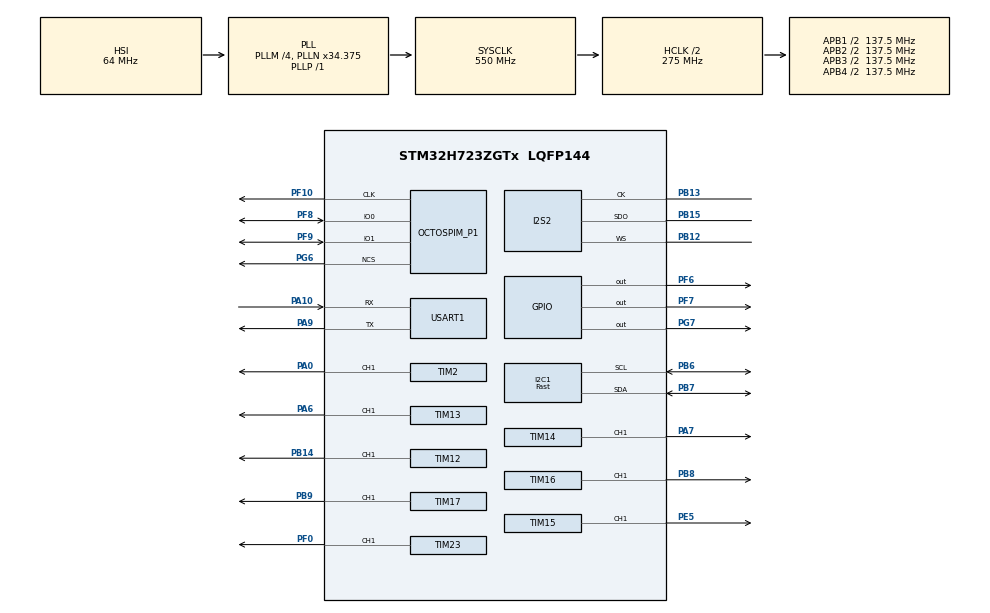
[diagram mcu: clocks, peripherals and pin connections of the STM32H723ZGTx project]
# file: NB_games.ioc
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CORTEX_M7.default_mode_Activation=1
Dma.I2C1_TX.0.Direction=DMA_MEMORY_TO_PERIPH
Dma.I2C1_TX.0.EventEnable=DISABLE
Dma.I2C1_TX.0.FIFOMode=DMA_FIFOMODE_DISABLE
Dma.I2C1_TX.0.Instance=DMA1_Stream1
Dma.I2C1_TX.0.MemDataAlignment=DMA_MDATAALIGN_BYTE
Dma.I2C1_TX.0.MemInc=DMA_MINC_ENABLE
Dma.I2C1_TX.0.Mode=DMA_NORMAL
Dma.I2C1_TX.0.PeriphDataAlignment=DMA_PDATAALIGN_BYTE
Dma.I2C1_TX.0.PeriphInc=DMA_PINC_DISABLE
Dma.I2C1_TX.0.Polarity=HAL_DMAMUX_REQ_GEN_RISING
Dma.I2C1_TX.0.Priority=DMA_PRIORITY_MEDIUM
Dma.I2C1_TX.0.RequestNumber=1
Dma.I2C1_TX.0.SignalID=NONE
Dma.I2C1_TX.0.SyncEnable=DISABLE
Dma.I2C1_TX.0.SyncPolarity=HAL_DMAMUX_SYNC_NO_EVENT
Dma.I2C1_TX.0.SyncRequestNumber=1
Dma.I2C1_TX.0.SyncSignalID=NONE
Dma.Request0=I2C1_TX
Dma.Request1=USART1_RX
Dma.Request2=USART1_TX
Dma.Request3=SPI2_TX
Dma.SPI2_TX.3.Direction=DMA_MEMORY_TO_PERIPH
Dma.SPI2_TX.3.EventEnable=DISABLE
Dma.SPI2_TX.3.FIFOMode=DMA_FIFOMODE_DISABLE
Dma.SPI2_TX.3.Instance=DMA1_Stream0
Dma.SPI2_TX.3.MemDataAlignment=DMA_MDATAALIGN_HALFWORD
Dma.SPI2_TX.3.MemInc=DMA_MINC_ENABLE
Dma.SPI2_TX.3.Mode=DMA_CIRCULAR
Dma.SPI2_TX.3.PeriphDataAlignment=DMA_PDATAALIGN_HALFWORD
Dma.SPI2_TX.3.PeriphInc=DMA_PINC_DISABLE
Dma.SPI2_TX.3.Polarity=HAL_DMAMUX_REQ_GEN_RISING
Dma.SPI2_TX.3.Priority=DMA_PRIORITY_VERY_HIGH
Dma.SPI2_TX.3.RequestNumber=1
Dma.SPI2_TX.3.SignalID=NONE
Dma.SPI2_TX.3.SyncEnable=DISABLE
Dma.SPI2_TX.3.SyncPolarity=HAL_DMAMUX_SYNC_NO_EVENT
Dma.SPI2_TX.3.SyncRequestNumber=1
Dma.SPI2_TX.3.SyncSignalID=NONE
Dma.USART1_RX.1.Direction=DMA_PERIPH_TO_MEMORY
Dma.USART1_RX.1.EventEnable=DISABLE
Dma.USART1_RX.1.FIFOMode=DMA_FIFOMODE_DISABLE
Dma.USART1_RX.1.Instance=DMA1_Stream2
Dma.USART1_RX.1.MemDataAlignment=DMA_MDATAALIGN_BYTE
Dma.USART1_RX.1.MemInc=DMA_MINC_ENABLE
Dma.USART1_RX.1.Mode=DMA_NORMAL
Dma.USART1_RX.1.PeriphDataAlignment=DMA_PDATAALIGN_BYTE
Dma.USART1_RX.1.PeriphInc=DMA_PINC_DISABLE
Dma.USART1_RX.1.Polarity=HAL_DMAMUX_REQ_GEN_RISING
Dma.USART1_RX.1.Priority=DMA_PRIORITY_LOW
Dma.USART1_RX.1.RequestNumber=1
Dma.USART1_RX.1.SignalID=NONE
Dma.USART1_RX.1.SyncEnable=DISABLE
Dma.USART1_RX.1.SyncPolarity=HAL_DMAMUX_SYNC_NO_EVENT
Dma.USART1_RX.1.SyncRequestNumber=1
Dma.USART1_RX.1.SyncSignalID=NONE
Dma.USART1_TX.2.Direction=DMA_MEMORY_TO_PERIPH
Dma.USART1_TX.2.EventEnable=DISABLE
Dma.USART1_TX.2.FIFOMode=DMA_FIFOMODE_DISABLE
Dma.USART1_TX.2.Instance=DMA1_Stream3
Dma.USART1_TX.2.MemDataAlignment=DMA_MDATAALIGN_BYTE
Dma.USART1_TX.2.MemInc=DMA_MINC_ENABLE
Dma.USART1_TX.2.Mode=DMA_NORMAL
Dma.USART1_TX.2.PeriphDataAlignment=DMA_PDATAALIGN_BYTE
Dma.USART1_TX.2.PeriphInc=DMA_PINC_DISABLE
Dma.USART1_TX.2.Polarity=HAL_DMAMUX_REQ_GEN_RISING
Dma.USART1_TX.2.Priority=DMA_PRIORITY_LOW
Dma.USART1_TX.2.RequestNumber=1
Dma.USART1_TX.2.SignalID=NONE
Dma.USART1_TX.2.SyncEnable=DISABLE
Dma.USART1_TX.2.SyncPolarity=HAL_DMAMUX_SYNC_NO_EVENT
Dma.USART1_TX.2.SyncRequestNumber=1
Dma.USART1_TX.2.SyncSignalID=NONE
FREERTOS.Tasks01=defaultTask,24,128,StartDefaultTask,As weak,NULL,Dynamic,NULL,NULL
I2C1.I2C_Speed_Mode=I2C_Fast
I2C1.Timing=0x00D049FB
I2S2.AudioFreq=I2S_AUDIOFREQ_48K
I2S2.DataFormat=I2S_DATAFORMAT_16B
I2S2.ErrorAudioFreq=0.3 %
I2S2.Instance=SPI$Index
I2S2.RealAudioFreq=48.144 KHz
Mcu.Family=STM32H7
Mcu.Name=STM32H723ZGTx
Mcu.Package=LQFP144
NVIC.DMA1_Stream0_IRQn=true\:5\:0\:false\:false\:true\:true\:false\:true\:true
NVIC.DMA1_Stream1_IRQn=true\:5\:0\:true\:false\:true\:true\:false\:true\:true
NVIC.DMA1_Stream2_IRQn=true\:5\:0\:true\:false\:true\:true\:false\:true\:true
NVIC.DMA1_Stream3_IRQn=true\:5\:0\:true\:false\:true\:true\:false\:true\:true
NVIC.I2C1_ER_IRQn=true\:6\:0\:true\:false\:true\:true\:true\:true\:true
NVIC.I2C1_EV_IRQn=true\:6\:0\:true\:false\:true\:true\:true\:true\:true
NVIC.PriorityGroup=NVIC_PRIORITYGROUP_4
NVIC.SPI2_IRQn=true\:5\:0\:false\:false\:true\:true\:true\:true\:true
NVIC.TIM6_DAC_IRQn=true\:15\:0\:false\:false\:true\:false\:false\:true\:true
NVIC.TimeBase=TIM6_DAC_IRQn
NVIC.TimeBaseIP=TIM6
NVIC.USART1_IRQn=true\:6\:0\:true\:false\:true\:true\:true\:true\:true
OCTOSPI1.ChipSelectHighTime=4
OCTOSPI1.ClockPrescaler=8
OCTOSPI1.DeviceSize=23
OCTOSPI1.FifoThreshold=4
OCTOSPI1.MemoryType=HAL_OSPI_MEMTYPE_MACRONIX
PA0.Signal=S_TIM2_CH1_ETR
PA10.Mode=Asynchronous
PA10.Signal=USART1_RX
PA6.Signal=S_TIM13_CH1
PA7.Signal=S_TIM14_CH1
PA9.Mode=Asynchronous
PA9.Signal=USART1_TX
PB12.Mode=Half_Duplex_Master_Tx
PB12.Signal=I2S2_WS
PB13.Mode=Half_Duplex_Master_Tx
PB13.Signal=I2S2_CK
PB14.Signal=S_TIM12_CH1
PB15.Mode=Half_Duplex_Master_Tx
PB15.Signal=I2S2_SDO
PB6.Mode=I2C
PB6.Signal=I2C1_SCL
PB7.Mode=I2C
PB7.Signal=I2C1_SDA
PB8.Signal=S_TIM16_CH1
PB9.Signal=S_TIM17_CH1
PE5.Signal=S_TIM15_CH1
PF0.Mode=PWM Generation1 CH1
PF0.Signal=TIM23_CH1
PF10.Mode=O1_P1_CLK
PF10.Signal=OCTOSPIM_P1_CLK
PF6.GPIO_PuPd=GPIO_NOPULL
PF6.PinState=GPIO_PIN_SET
PF6.Signal=GPIO_Output
PF7.PinState=GPIO_PIN_SET
PF7.Signal=GPIO_Output
PF8.Mode=OCTOSPI1_IOL_Port1L_10
PF8.Signal=OCTOSPIM_P1_IO0
PF9.Mode=OCTOSPI1_IOL_Port1L_10
PF9.Signal=OCTOSPIM_P1_IO1
PG6.Mode=OCTOSPI1_Port1_NCS
PG6.Signal=OCTOSPIM_P1_NCS
PG7.Signal=GPIO_Output
PH0-OSC_IN.Mode=HSE-External-Oscillator
PH0-OSC_IN.Signal=RCC_OSC_IN
PH1-OSC_OUT.Mode=HSE-External-Oscillator
PH1-OSC_OUT.Signal=RCC_OSC_OUT
ProjectManager.HeapSize=0x200
ProjectManager.StackSize=0x400
ProjectManager.TargetToolchain=CMake
RCC.ADCFreq_Value=129000000
RCC.APB1Freq_Value=137500000
RCC.APB2Freq_Value=137500000
RCC.APB3Freq_Value=137500000
RCC.APB4Freq_Value=137500000
RCC.CortexFreq_Value=550000000
RCC.D1PPRE=RCC_APB3_DIV2
RCC.D2PPRE1=RCC_APB1_DIV2
RCC.D2PPRE2=RCC_APB2_DIV2
RCC.D3PPRE=RCC_APB4_DIV2
RCC.DIVM1=4
RCC.DIVN1=34
RCC.DIVP1=1
RCC.DIVQ1=3
RCC.HCLKFreq_Value=275000000
RCC.HPRE=RCC_HCLK_DIV2
RCC.PLL2FRACN=0
RCC.PLL3FRACN=0
RCC.PLLFRACN=3072
RCC.SYSCLKFreq_VALUE=550000000
RCC.SYSCLKSource=RCC_SYSCLKSOURCE_PLLCLK
RCC.USBFreq_Value=183333333.33333334
SH.S_TIM12_CH1.0=TIM12_CH1,PWM Generation1 CH1
SH.S_TIM13_CH1.0=TIM13_CH1,PWM Generation1 CH1
SH.S_TIM14_CH1.0=TIM14_CH1,PWM Generation1 CH1
SH.S_TIM15_CH1.0=TIM15_CH1,PWM Generation1 CH1
SH.S_TIM16_CH1.0=TIM16_CH1,PWM Generation1 CH1
SH.S_TIM17_CH1.0=TIM17_CH1,PWM Generation1 CH1
SH.S_TIM2_CH1_ETR.0=TIM2_CH1,PWM Generation1 CH1
TIM12.Channel-PWM\ Generation1\ CH1=TIM_CHANNEL_1
TIM13.Channel=TIM_CHANNEL_1
TIM14.Channel=TIM_CHANNEL_1
TIM15.Channel-PWM\ Generation1\ CH1=TIM_CHANNEL_1
TIM16.Channel=TIM_CHANNEL_1
TIM17.Channel=TIM_CHANNEL_1
TIM2.Channel-PWM\ Generation1\ CH1=TIM_CHANNEL_1
TIM23.Channel-PWM\ Generation1\ CH1=TIM_CHANNEL_1
USART1.VirtualMode-Asynchronous=VM_ASYNC
VP_FREERTOS_VS_CMSIS_V2.Mode=CMSIS_V2
VP_MEMORYMAP_VS_MEMORYMAP.Mode=CurAppReg
VP_OCTOSPI1_VS_dual.Mode=single_mode
VP_SYS_VS_tim6.Mode=TIM6
VP_TIM12_VS_ClockSourceINT.Mode=Internal
VP_TIM13_VS_ClockSourceINT.Mode=Enable_Timer
VP_TIM14_VS_ClockSourceINT.Mode=Enable_Timer
VP_TIM15_VS_ClockSourceINT.Mode=Internal
VP_TIM16_VS_ClockSourceINT.Mode=Enable_Timer
VP_TIM17_VS_ClockSourceINT.Mode=Enable_Timer
VP_TIM23_VS_ClockSourceINT.Mode=Internal
VP_TIM2_VS_ClockSourceINT.Mode=Internal
board=custom

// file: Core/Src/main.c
/* USER CODE BEGIN Header */
/**
  ******************************************************************************
  * @file           : main.c
  * @brief          : Main program body
  ******************************************************************************
  * @attention
  *
  * Copyright (c) 2026 STMicroelectronics.
  * All rights reserved.
  *
  * This software is licensed under terms that can be found in the LICENSE file
  * in the root directory of this software component.
  * If no LICENSE file comes with this software, it is provided AS-IS.
  *
  ******************************************************************************
  */
/* USER CODE END Header */
#include "main.h"
#include "FreeRTOS.h"
#include "cmsis_os2.h"
#include "dma.h"
#include "i2c.h"
#include "i2s.h"
#include "octospi.h"
#include "tim.h"
#include "usart.h"
#include "gpio.h"

void SystemClock_Config(void);
static void MPU_Config(void);
void MX_FREERTOS_Init(void);

int main(void)
{

  /* MPU Configuration--------------------------------------------------------*/
  MPU_Config();

  /* MCU Configuration--------------------------------------------------------*/

  /* Reset of all peripherals, Initializes the Flash interface and the Systick. */
  HAL_Init();

  /* Configure the system clock */
  SystemClock_Config();

  /* USER CODE BEGIN SysInit */

  HAL_MPU_Disable();

  MPU_Region_InitTypeDef MPU_InitStruct = {0};

  MPU_InitStruct.Enable           = MPU_REGION_ENABLE;
  MPU_InitStruct.BaseAddress      = 0x90000000;
  MPU_InitStruct.Size             = MPU_REGION_SIZE_256MB;  // OCTOSPI1 映射区
  MPU_InitStruct.AccessPermission = MPU_REGION_FULL_ACCESS;
  MPU_InitStruct.IsBufferable     = MPU_ACCESS_NOT_BUFFERABLE;
  MPU_InitStruct.IsCacheable      = MPU_ACCESS_NOT_CACHEABLE;  // ⭐ 关键
  MPU_InitStruct.IsShareable      = MPU_ACCESS_NOT_SHAREABLE;
  MPU_InitStruct.Number           = MPU_REGION_NUMBER0;
  MPU_InitStruct.TypeExtField     = MPU_TEX_LEVEL0;
  MPU_InitStruct.SubRegionDisable = 0x00;
  MPU_InitStruct.DisableExec      = MPU_INSTRUCTION_ACCESS_DISABLE;
  HAL_MPU_ConfigRegion(&MPU_InitStruct);

  HAL_MPU_Enable(MPU_PRIVILEGED_DEFAULT);

  /* USER CODE END SysInit */

  /* Initialize all configured peripherals */
  MX_GPIO_Init();
  MX_DMA_Init();
  MX_TIM13_Init();
  MX_TIM14_Init();
  MX_TIM16_Init();
  MX_TIM17_Init();
  MX_TIM15_Init();
  MX_I2C1_Init();
  MX_USART1_UART_Init();
  MX_OCTOSPI1_Init();
  MX_TIM2_Init();
  MX_TIM12_Init();
  MX_TIM23_Init();
  MX_I2S2_Init();

  /* Init scheduler */
  osKernelInitialize();  /* Call init function for freertos objects (in cmsis_os2.c) */
  MX_FREERTOS_Init();

  /* Start scheduler */
  osKernelStart();

  /* We should never get here as control is now taken by the scheduler */

  /* Infinite loop */
  while (1)
  {

  }
}

void SystemClock_Config(void)
{
  RCC_OscInitTypeDef RCC_OscInitStruct = {0};
  RCC_ClkInitTypeDef RCC_ClkInitStruct = {0};

  /** Supply configuration update enable
  */
  HAL_PWREx_ConfigSupply(PWR_LDO_SUPPLY);

  /** Configure the main internal regulator output voltage
  */
  __HAL_PWR_VOLTAGESCALING_CONFIG(PWR_REGULATOR_VOLTAGE_SCALE0);

  while(!__HAL_PWR_GET_FLAG(PWR_FLAG_VOSRDY)) {}

  /** Initializes the RCC Oscillators according to the specified parameters
  * in the RCC_OscInitTypeDef structure.
  */
  RCC_OscInitStruct.OscillatorType = RCC_OSCILLATORTYPE_HSI;
  RCC_OscInitStruct.HSIState = RCC_HSI_DIV1;
  RCC_OscInitStruct.HSICalibrationValue = 64;
  RCC_OscInitStruct.PLL.PLLState = RCC_PLL_ON;
  RCC_OscInitStruct.PLL.PLLSource = RCC_PLLSOURCE_HSI;
  RCC_OscInitStruct.PLL.PLLM = 4;
  RCC_OscInitStruct.PLL.PLLN = 34;
  RCC_OscInitStruct.PLL.PLLP = 1;
  RCC_OscInitStruct.PLL.PLLQ = 3;
  RCC_OscInitStruct.PLL.PLLR = 2;
  RCC_OscInitStruct.PLL.PLLRGE = RCC_PLL1VCIRANGE_3;
  RCC_OscInitStruct.PLL.PLLVCOSEL = RCC_PLL1VCOWIDE;
  RCC_OscInitStruct.PLL.PLLFRACN = 3072;
  if (HAL_RCC_OscConfig(&RCC_OscInitStruct) != HAL_OK)
  {
    Error_Handler();
  }

  /** Initializes the CPU, AHB and APB buses clocks
  */
  RCC_ClkInitStruct.ClockType = RCC_CLOCKTYPE_HCLK|RCC_CLOCKTYPE_SYSCLK
                              |RCC_CLOCKTYPE_PCLK1|RCC_CLOCKTYPE_PCLK2
                              |RCC_CLOCKTYPE_D3PCLK1|RCC_CLOCKTYPE_D1PCLK1;
  RCC_ClkInitStruct.SYSCLKSource = RCC_SYSCLKSOURCE_PLLCLK;
  RCC_ClkInitStruct.SYSCLKDivider = RCC_SYSCLK_DIV1;
  RCC_ClkInitStruct.AHBCLKDivider = RCC_HCLK_DIV2;
  RCC_ClkInitStruct.APB3CLKDivider = RCC_APB3_DIV2;
  RCC_ClkInitStruct.APB1CLKDivider = RCC_APB1_DIV2;
  RCC_ClkInitStruct.APB2CLKDivider = RCC_APB2_DIV2;
  RCC_ClkInitStruct.APB4CLKDivider = RCC_APB4_DIV2;

  if (HAL_RCC_ClockConfig(&RCC_ClkInitStruct, FLASH_LATENCY_3) != HAL_OK)
  {
    Error_Handler();
  }
}

 /* MPU Configuration */

void MPU_Config(void)
{
  MPU_Region_InitTypeDef MPU_InitStruct = {0};

  /* Disables the MPU */
  HAL_MPU_Disable();

  /** Initializes and configures the Region and the memory to be protected
  */
  MPU_InitStruct.Enable = MPU_REGION_ENABLE;
  MPU_InitStruct.Number = MPU_REGION_NUMBER0;
  MPU_InitStruct.BaseAddress = 0x0;
  MPU_InitStruct.Size = MPU_REGION_SIZE_4GB;
  MPU_InitStruct.SubRegionDisable = 0x87;
  MPU_InitStruct.TypeExtField = MPU_TEX_LEVEL0;
  MPU_InitStruct.AccessPermission = MPU_REGION_NO_ACCESS;
  MPU_InitStruct.DisableExec = MPU_INSTRUCTION_ACCESS_DISABLE;
  MPU_InitStruct.IsShareable = MPU_ACCESS_SHAREABLE;
  MPU_InitStruct.IsCacheable = MPU_ACCESS_NOT_CACHEABLE;
  MPU_InitStruct.IsBufferable = MPU_ACCESS_NOT_BUFFERABLE;

  HAL_MPU_ConfigRegion(&MPU_InitStruct);
  /* Enables the MPU */
  HAL_MPU_Enable(MPU_PRIVILEGED_DEFAULT);

}

void HAL_TIM_PeriodElapsedCallback(TIM_HandleTypeDef *htim)
{
  if (htim->Instance == TIM6)
  {
    HAL_IncTick();
  }
}

void Error_Handler(void)
{
  __disable_irq();
  while (1)
  {
  }
}

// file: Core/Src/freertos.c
/* USER CODE BEGIN Header */
/**
  ******************************************************************************
  * File Name          : freertos.c
  * Description        : Code for freertos applications
  ******************************************************************************
  * @attention
  *
  * Copyright (c) 2026 STMicroelectronics.
  * All rights reserved.
  *
  * This software is licensed under terms that can be found in the LICENSE file
  * in the root directory of this software component.
  * If no LICENSE file comes with this software, it is provided AS-IS.
  *
  ******************************************************************************
  */
/* USER CODE END Header */

#include "FreeRTOS.h"
#include "task.h"
#include "main.h"
#include "FreeRTOS.h"
#include "cmsis_os2.h"

/* Definitions for defaultTask */
osThreadId_t defaultTaskHandle;
const osThreadAttr_t defaultTask_attributes = {
  .name = "defaultTask",
  .stack_size = 128 * 4,
  .priority = (osPriority_t) osPriorityNormal,
};

void StartDefaultTask(void *argument);

void MX_FREERTOS_Init(void); /* (MISRA C 2004 rule 8.1) */

void MX_FREERTOS_Init(void) {

  /* Create the thread(s) */
  /* creation of defaultTask */
  defaultTaskHandle = osThreadNew(StartDefaultTask, NULL, &defaultTask_attributes);

}

__weak void StartDefaultTask(void *argument)
{
  for(;;)
  {
    osDelay(1);
  }
}
